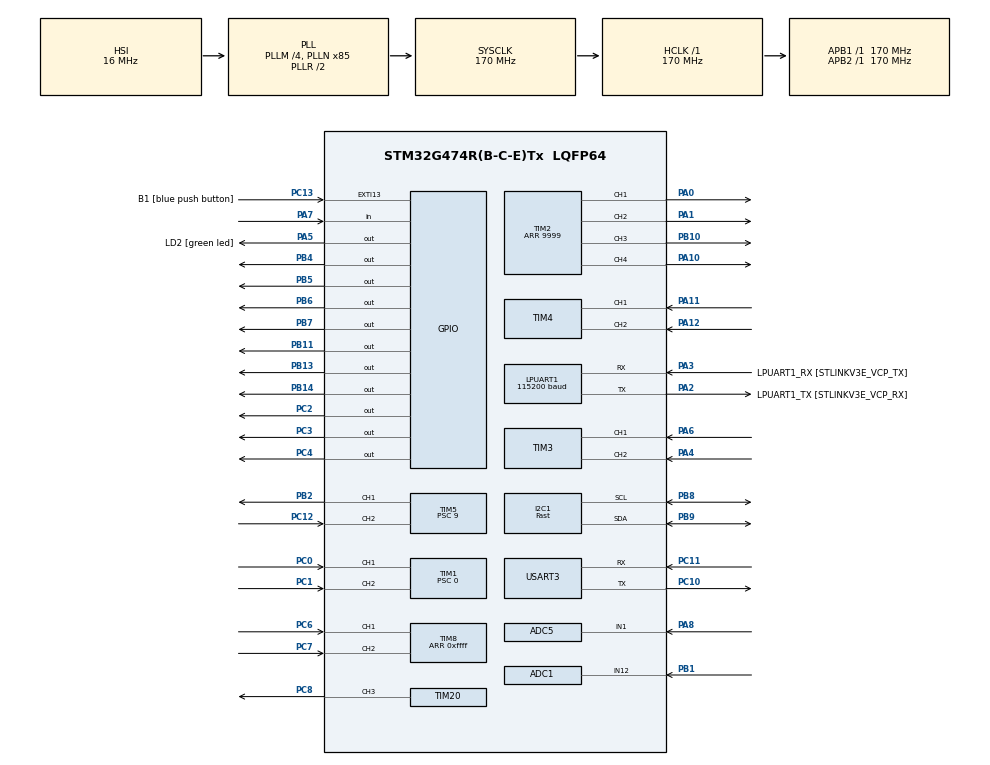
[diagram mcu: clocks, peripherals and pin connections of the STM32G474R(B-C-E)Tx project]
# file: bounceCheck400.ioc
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ADC1.Channel-0\#ChannelRegularConversion=ADC_CHANNEL_12
ADC1.NbrOfConversionFlag=1
ADC1.OffsetNumber-0\#ChannelRegularConversion=ADC_OFFSET_NONE
ADC1.Rank-0\#ChannelRegularConversion=1
ADC1.SamplingTime-0\#ChannelRegularConversion=ADC_SAMPLETIME_2CYCLES_5
ADC1.master=1
ADC5.Channel-0\#ChannelRegularConversion=ADC_CHANNEL_1
ADC5.NbrOfConversionFlag=1
ADC5.OffsetNumber-0\#ChannelRegularConversion=ADC_OFFSET_NONE
ADC5.Rank-0\#ChannelRegularConversion=1
ADC5.SamplingTime-0\#ChannelRegularConversion=ADC_SAMPLETIME_2CYCLES_5
I2C1.I2C_Speed_Mode=I2C_Fast
I2C1.Timing=0x40621236
LPUART1.BaudRate=115200
Mcu.Family=STM32G4
Mcu.Name=STM32G474R(B-C-E)Tx
Mcu.Package=LQFP64
NVIC.EXTI15_10_IRQn=true\:0\:0\:false\:false\:true\:true\:true\:true
NVIC.LPUART1_IRQn=true\:0\:0\:false\:false\:true\:true\:true\:true
NVIC.PriorityGroup=NVIC_PRIORITYGROUP_4
NVIC.TIM1_BRK_TIM15_IRQn=true\:0\:0\:false\:false\:true\:true\:true\:true
NVIC.TIM2_IRQn=true\:0\:0\:false\:false\:true\:true\:true\:true
NVIC.TIM5_IRQn=true\:0\:0\:false\:false\:true\:true\:true\:true
NVIC.USART3_IRQn=true\:0\:0\:false\:false\:true\:true\:true\:true
PA0.Signal=S_TIM2_CH1
PA1.Signal=S_TIM2_CH2
PA10.Signal=S_TIM2_CH4
PA11.Signal=S_TIM4_CH1
PA12.Signal=S_TIM4_CH2
PA13.GPIO_Label=T_SWDIO
PA13.Mode=Serial_Wire
PA13.Signal=SYS_JTMS-SWDIO
PA14.GPIO_Label=T_SWCLK
PA14.Mode=Serial_Wire
PA14.Signal=SYS_JTCK-SWCLK
PA2.GPIO_Label=LPUART1_TX [STLINKV3E_VCP_RX]
PA2.Mode=Asynchronous
PA2.Signal=LPUART1_TX
PA3.GPIO_Label=LPUART1_RX [STLINKV3E_VCP_TX]
PA3.Mode=Asynchronous
PA3.Signal=LPUART1_RX
PA4.Signal=S_TIM3_CH2
PA5.GPIO_Label=LD2 [green led]
PA5.Signal=GPIO_Output
PA6.Signal=S_TIM3_CH1
PA7.Signal=GPIO_Input
PA8.Mode=IN1-Single-Ended
PA8.Signal=ADC5_IN1
PB1.Mode=IN12-Single-Ended
PB1.Signal=ADC1_IN12
PB10.Signal=S_TIM2_CH3
PB11.Signal=GPIO_Output
PB13.Signal=GPIO_Output
PB14.Signal=GPIO_Output
PB2.Signal=S_TIM5_CH1
PB3.GPIO_Label=T_SWO
PB3.Signal=SYS_JTDO-SWO
PB4.Signal=GPIO_Output
PB5.Signal=GPIO_Output
PB6.Signal=GPIO_Output
PB7.Signal=GPIO_Output
PB8-BOOT0.Mode=I2C
PB8-BOOT0.Signal=I2C1_SCL
PB9.Mode=I2C
PB9.Signal=I2C1_SDA
PC0.Signal=S_TIM1_CH1
PC1.Signal=S_TIM1_CH2
PC10.Mode=Asynchronous
PC10.Signal=USART3_TX
PC11.Mode=Asynchronous
PC11.Signal=USART3_RX
PC12.Signal=S_TIM5_CH2
PC13.GPIO_Label=B1 [blue push button]
PC13.Signal=GPXTI13
PC14-OSC32_IN.Mode=LSE-External-Oscillator
PC14-OSC32_IN.Signal=RCC_OSC32_IN
PC15-OSC32_OUT.Mode=LSE-External-Oscillator
PC15-OSC32_OUT.Signal=RCC_OSC32_OUT
PC2.Signal=GPIO_Output
PC3.Signal=GPIO_Output
PC4.Signal=GPIO_Output
PC6.Signal=S_TIM8_CH1
PC7.Signal=S_TIM8_CH2
PC8.Signal=S_TIM20_CH3
PF0-OSC_IN.Mode=HSE-External-Oscillator
PF0-OSC_IN.Signal=RCC_OSC_IN
PF1-OSC_OUT.Mode=HSE-External-Oscillator
PF1-OSC_OUT.Signal=RCC_OSC_OUT
ProjectManager.HeapSize=0x200
ProjectManager.StackSize=0x400
ProjectManager.TargetToolchain=STM32CubeIDE
RCC.ADC12Freq_Value=170000000
RCC.ADC345Freq_Value=170000000
RCC.AHBFreq_Value=170000000
RCC.APB1Freq_Value=170000000
RCC.APB1TimFreq_Value=170000000
RCC.APB2Freq_Value=170000000
RCC.APB2TimFreq_Value=170000000
RCC.CortexFreq_Value=170000000
RCC.EXTERNAL_CLOCK_VALUE=12288000
RCC.HCLKFreq_Value=170000000
RCC.HSE_VALUE=24000000
RCC.HSI48_VALUE=48000000
RCC.HSI_VALUE=16000000
RCC.PLLM=RCC_PLLM_DIV4
RCC.PLLN=85
RCC.RTCClockSelection=RCC_RTCCLKSOURCE_LSE
RCC.SYSCLKFreq_VALUE=170000000
RCC.SYSCLKSource=RCC_SYSCLKSOURCE_PLLCLK
RCC.USBFreq_Value=170000000
RCC.VCOOutputFreq_Value=340000000
SH.S_TIM1_CH1.0=TIM1_CH1,Encoder_Interface
SH.S_TIM1_CH2.0=TIM1_CH2,Encoder_Interface
SH.S_TIM20_CH3.0=TIM20_CH3,PWM Generation3 CH3
SH.S_TIM2_CH1.0=TIM2_CH1,PWM Generation1 CH1
SH.S_TIM2_CH2.0=TIM2_CH2,PWM Generation2 CH2
SH.S_TIM2_CH3.0=TIM2_CH3,PWM Generation3 CH3
SH.S_TIM2_CH4.0=TIM2_CH4,PWM Generation4 CH4
SH.S_TIM3_CH1.0=TIM3_CH1,Encoder_Interface
SH.S_TIM3_CH2.0=TIM3_CH2,Encoder_Interface
SH.S_TIM4_CH1.0=TIM4_CH1,Encoder_Interface
SH.S_TIM4_CH2.0=TIM4_CH2,Encoder_Interface
SH.S_TIM5_CH1.0=TIM5_CH1,PWM Generation1 CH1
SH.S_TIM5_CH2.0=TIM5_CH2,Input_Capture2_from_TI2
SH.S_TIM8_CH1.0=TIM8_CH1,Encoder_Interface
SH.S_TIM8_CH2.0=TIM8_CH2,Encoder_Interface
TIM1.PeriodNoDither=0xffff
TIM1.Prescaler=0
TIM15.PeriodNoDither=49999
TIM15.Prescaler=67
TIM2.Channel-PWM\ Generation1\ CH1=TIM_CHANNEL_1
TIM2.Channel-PWM\ Generation2\ CH2=TIM_CHANNEL_2
TIM2.Channel-PWM\ Generation3\ CH3=TIM_CHANNEL_3
TIM2.Channel-PWM\ Generation4\ CH4=TIM_CHANNEL_4
TIM2.PeriodNoDither=9999
TIM20.Channel-PWM\ Generation3\ CH3=TIM_CHANNEL_3
TIM5.Channel-Input_Capture2_from_TI2=TIM_CHANNEL_2
TIM5.Channel-PWM\ Generation1\ CH1=TIM_CHANNEL_1
TIM5.ICPolarity_CH2=TIM_INPUTCHANNELPOLARITY_BOTHEDGE
TIM5.PeriodNoDither=1699999
TIM5.Prescaler=9
TIM8.PeriodNoDither=0xffff
USART3.VirtualMode-Asynchronous=VM_ASYNC
VP_SYS_VS_DBSignals.Mode=DisableDeadBatterySignals
VP_TIM15_VS_ClockSourceINT.Mode=Internal
VP_TIM2_VS_ClockSourceINT.Mode=Internal
VP_TIM5_VS_ClockSourceINT.Mode=Internal
board=NUCLEO-G474RE

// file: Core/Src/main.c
/* USER CODE BEGIN Header *//**
  ******************************************************************************
  * @file    main.c   (project bounceCheck400)
  * @brief   Bounce test of I2C button 0 with the I2C bus at 400 kHz, for
  *          Assignment 1, Part C. Hardware: NUCLEO-G474RE + the I2C IO board on
  *          the cart. Read bounceCheck400_instructions.txt (same folder).
  *
  * The question: can Part C show both kinds of wrong count?
  *   - UNWANTED events: bounce makes one real press count as several
  *   - MISSING events : a press shorter than one loop pass is never seen
  *
  * Button 0 (PCA9538A at 0x71) is read as fast as the bus allows, or with a
  * delay of loopDelayMs after every read. For every raw edge the program
  * counts presses and releases separately, measures the gap from the previous
  * edge, and logs its time. A debounced count (level stable for debounceMs)
  * runs alongside as a check of the real number of presses.
  *
  * The bus speed can be switched at run time: i2cFast = 1 (400 kHz, the
  * default here) or 0 (100 kHz, the course setting), to compare the two in
  * the same session.
  *
  * LD2 shows the raw level of button 0 (LD2 on = held).
  *
  * All inputs and outputs are global variables, for Live Expressions:
  *   INPUTS  (write): resetCounts, i2cFast, loopDelayMs, dumpLog, shortGapUs,
  *                    debounceMs
  *   OUTPUTS (read) : everything else listed in the instructions file
  *
  * Nothing moves: the wheels, RGB LEDs and servo are never commanded.
  ******************************************************************************
  */
/* USER CODE END Header */
#include "main.h"

/* USER CODE BEGIN Includes */
#include <stdio.h>
/* USER CODE END Includes */

/* USER CODE BEGIN PD */
#define PCA9538A_ADDR        0x71
#define PCA9538A_INPUT       0x00
#define PCA9538A_CONFIG      0x03
#define GAP_NONE             0xFFFFFFFFUL  /* "no gap measured yet"              */
#define GAP_DEFAULT_US       30000UL       /* 30 ms: shorter gaps are bounce     */
#define DEBOUNCE_DEFAULT_MS  20UL          /* stable time for the debounced count */
#define LOG_SIZE             512U          /* edges kept in the timing log       */
#define I2C_TIMING_100K      0x30A0A7FBUL  /* 100 kHz @ 170 MHz (CubeMX value)   */
#define I2C_TIMING_400K      0x40621236UL  /* 400 kHz @ 170 MHz, CubeMX GUI value (was 0x30C22737) */
#define RAW_EDGE             0x01U         /* updateInput() result bits          */
#define DEB_EDGE             0x02U
/* USER CODE END PD */

ADC_HandleTypeDef hadc1;
ADC_HandleTypeDef hadc5;

I2C_HandleTypeDef hi2c1;

UART_HandleTypeDef hlpuart1;
UART_HandleTypeDef huart3;

TIM_HandleTypeDef htim1;
TIM_HandleTypeDef htim2;
TIM_HandleTypeDef htim3;
TIM_HandleTypeDef htim4;
TIM_HandleTypeDef htim5;
TIM_HandleTypeDef htim8;
TIM_HandleTypeDef htim15;
TIM_HandleTypeDef htim20;

/* USER CODE BEGIN PV */
/* ============================ INPUTS (write) ============================== */
volatile uint8_t  resetCounts = 0;                    /* write 1: zero all results */
volatile uint8_t  i2cFast     = 1;                    /* 1 = 400 kHz, 0 = 100 kHz  */
volatile uint32_t loopDelayMs = 0;                    /* HAL_Delay after each read */
volatile uint8_t  dumpLog     = 0;                    /* write 1: print the log    */
volatile uint32_t shortGapUs  = GAP_DEFAULT_US;       /* bounce threshold [us]     */
volatile uint32_t debounceMs  = DEBOUNCE_DEFAULT_MS;  /* debounce stable time [ms] */

/* ============================ OUTPUTS (read) ============================== */
volatile uint32_t loopsPerSec = 0;     /* main-loop passes (= reads) per second */
volatile uint32_t samplePeriodUs = 0;  /* time between two reads, 1e6 / loops  */
volatile uint32_t i2cKHz      = 100;   /* I2C speed in use                      */
volatile uint8_t  i2cOk       = 0;     /* 1 = the last button read worked       */
volatile uint32_t i2cErrors   = 0;     /* failed button reads since the reset   */
volatile uint8_t  i2cHeld     = 0;     /* bit n = 1 while button n is held      */

volatile uint32_t b0Presses    = 0;    /* raw edges released -> held            */
volatile uint32_t b0Releases   = 0;    /* raw edges held -> released            */
volatile uint32_t b0ShortGaps  = 0;    /* raw edges after a short gap           */
volatile uint32_t b0MinGapUs   = GAP_NONE;
volatile uint32_t b0DebPresses = 0;    /* debounced presses                     */
volatile uint32_t b0MinHeldUs  = GAP_NONE; /* shortest raw press seen [us]     */

volatile uint32_t logCount     = 0;    /* edges in the log (max LOG_SIZE)       */

/* ---- internal ---- */
typedef struct {          /* one input: raw edge timing and debounced state */
  uint8_t  raw;           /* last raw level                                 */
  uint8_t  seen;          /* 0 until the first raw edge after a reset       */
  uint32_t lastEdgeUs;    /* time of the previous raw edge                  */
  uint8_t  stable;        /* debounced level                                */
  uint32_t changeMs;      /* HAL tick of the last raw change                */
} Input;

typedef struct {          /* one logged raw edge */
  uint32_t tUs;           /* time since the reset [us] */
  uint8_t  level;         /* level after the edge      */
} LogEntry;

static Input    button0;
static LogEntry edgeLog[LOG_SIZE];
static uint8_t  lastFast    = 0;   /* forces one i2cSetSpeed() at start-up  */
static uint64_t clockCycles = 0;   /* DWT cycles since boot, 64-bit         */
static uint32_t lastCyccnt  = 0;
static uint32_t resetUs     = 0;   /* nowUs() at the last reset             */
/* USER CODE END PV */

void SystemClock_Config(void);
static void MX_GPIO_Init(void);
static void MX_TIM1_Init(void);
static void MX_TIM2_Init(void);
static void MX_TIM3_Init(void);
static void MX_TIM4_Init(void);
static void MX_TIM5_Init(void);
static void MX_TIM8_Init(void);
static void MX_TIM15_Init(void);
static void MX_ADC5_Init(void);
static void MX_TIM20_Init(void);
static void MX_ADC1_Init(void);
static void MX_LPUART1_UART_Init(void);
static void MX_USART3_UART_Init(void);
static void MX_I2C1_Init(void);
void HAL_TIM_MspPostInit(TIM_HandleTypeDef *htim);

/* USER CODE BEGIN PFP */
static void     dwtInit(void);
static uint32_t nowUs(void);
static void     i2cSetSpeed(uint8_t fast);
static uint8_t  readI2cButtons(uint8_t *held);
static void     resetResults(void);
static void     logEdge(uint32_t tUs, uint8_t level);
static uint8_t  updateInput(Input *in, uint8_t level);
static void     pollButton0(void);
static void     printLog(void);
/* USER CODE END PFP */

/* USER CODE BEGIN 0 */
/* route printf to LPUART1 (PuTTY) */
int __io_putchar(int ch)
{
  HAL_UART_Transmit(&hlpuart1, (uint8_t *)&ch, 1, HAL_MAX_DELAY);
  return ch;
}

/* DWT cycle counter: 170 counts per microsecond */
static void dwtInit(void)
{
  CoreDebug->DEMCR |= CoreDebug_DEMCR_TRCENA_Msk;
  DWT->CYCCNT = 0U;
  DWT->CTRL  |= DWT_CTRL_CYCCNTENA_Msk;
}

/* Microseconds since boot. The 32-bit cycle counter wraps every 25 s, so it is
   extended to 64 bits here; the main loop calls this far more often than that. */
static uint32_t nowUs(void)
{
  uint32_t c = DWT->CYCCNT;
  clockCycles += (uint32_t)(c - lastCyccnt);
  lastCyccnt   = c;
  return (uint32_t)(clockCycles / (SystemCoreClock / 1000000U));
}

/* Re-initialise I2C1 at 100 kHz (fast = 0) or 400 kHz (fast = 1).
   The 400 kHz value is the one the CubeMX GUI computes for Fast mode,
   I2CCLK = 170 MHz, PRESC = 4, so one step = 29.4 ns:
     SCLL   = 0x36: SCL low  55 steps = 1.62 us (Fast mode min 1.3 us)
     SCLH   = 0x12: SCL high 19 steps = 0.56 us, plus the synchronisation
                    and analog filter delay (min 0.6 us on the bus)
     SCLDEL = 0x6 : data setup 7 steps = 206 ns (min 100 ns + rise time)
     SDADEL = 0x2 : data hold  2 steps =  59 ns (min 0)
   The first tests used a hand-computed 0x30C22737 (also within the rules). */
static void i2cSetSpeed(uint8_t fast)
{
  HAL_I2C_DeInit(&hi2c1);
  hi2c1.Init.Timing = fast ? I2C_TIMING_400K : I2C_TIMING_100K;
  if (HAL_I2C_Init(&hi2c1) != HAL_OK) Error_Handler();
  if (HAL_I2CEx_ConfigAnalogFilter(&hi2c1, I2C_ANALOGFILTER_ENABLE) != HAL_OK) Error_Handler();
  if (HAL_I2CEx_ConfigDigitalFilter(&hi2c1, 0) != HAL_OK) Error_Handler();
  i2cKHz = fast ? 400U : 100U;
}

/* bit n of *held = 1 while button n is held (the chip is active-low) */
static uint8_t readI2cButtons(uint8_t *held)
{
  uint8_t raw;
  if (HAL_I2C_Mem_Read(&hi2c1, (uint16_t)(PCA9538A_ADDR << 1), PCA9538A_INPUT,
                       I2C_MEMADD_SIZE_8BIT, &raw, 1, 10) != HAL_OK) {
    return 0;
  }
  *held = (uint8_t)(~raw) & 0x0FU;
  return 1;
}

/* zero every count and the log; the debounced level is kept */
static void resetResults(void)
{
  i2cErrors = 0;
  b0Presses = 0; b0Releases = 0; b0ShortGaps = 0; b0MinGapUs = GAP_NONE;
  b0DebPresses = 0; b0MinHeldUs = GAP_NONE;
  button0.seen = 0;
  logCount     = 0;
  resetUs      = nowUs();
}

/* keep one raw edge in the log, while there is room */
static void logEdge(uint32_t tUs, uint8_t level)
{
  if (logCount < LOG_SIZE) {
    edgeLog[logCount].tUs   = tUs;
    edgeLog[logCount].level = level;
    logCount++;
  }
}

/* Feed one new sample of button 0. Times the raw edge (short gaps, minimum
   gap, shortest press, log) and runs the debounce: the debounced level
   follows the raw level only after it has been stable for debounceMs.
   Returns RAW_EDGE and/or DEB_EDGE for what changed in this sample. */
static uint8_t updateInput(Input *in, uint8_t level)
{
  uint8_t  events = 0;
  uint32_t tUs    = nowUs() - resetUs;
  uint32_t ms     = HAL_GetTick();

  if (level != in->raw) {                          /* raw edge */
    if (in->seen) {
      uint32_t gap = tUs - in->lastEdgeUs;
      if (gap < shortGapUs)  b0ShortGaps++;
      if (gap < b0MinGapUs)  b0MinGapUs = gap;
      if (!level && gap < b0MinHeldUs) b0MinHeldUs = gap;  /* press -> release */
    }
    in->seen       = 1;
    in->lastEdgeUs = tUs;
    in->raw        = level;
    in->changeMs   = ms;
    logEdge(tUs, level);
    events |= RAW_EDGE;
  }
  if (in->stable != in->raw && (ms - in->changeMs) >= debounceMs) {
    in->stable = in->raw;                          /* debounced edge */
    events |= DEB_EDGE;
  }
  return events;
}

/* button 0: raw presses/releases and debounced presses; LD2 = raw level */
static void pollButton0(void)
{
  uint8_t held;
  if (!readI2cButtons(&held)) { i2cOk = 0; i2cErrors++; return; }
  i2cOk   = 1;
  i2cHeld = held;

  uint8_t level = held & 0x01U;
  HAL_GPIO_WritePin(LD2_GPIO_Port, LD2_Pin, level ? GPIO_PIN_SET : GPIO_PIN_RESET);

  uint8_t ev = updateInput(&button0, level);
  if (ev & RAW_EDGE) {
    if (level) b0Presses++; else b0Releases++;
  }
  if ((ev & DEB_EDGE) && button0.stable) b0DebPresses++;
}

/* print the edge log and the counts to PuTTY (blocks for a few seconds) */
static void printLog(void)
{
  printf("\r\n=== LOG: I2C button 0, I2C %lu kHz, loop delay %lu ms, %lu edges%s ===\r\n",
         i2cKHz, loopDelayMs, logCount,
         (logCount >= LOG_SIZE) ? " (log full, later edges not kept)" : "");
  printf("    #      t [ms]   gap [us]  new level\r\n");
  for (uint32_t i = 0; i < logCount; i++) {
    uint32_t t = edgeLog[i].tUs;
    printf("%5lu %7lu.%03lu ", i, t / 1000U, t % 1000U);
    uint8_t isShort = 0;
    if (i == 0) {
      printf("%10s", "-");
    } else {
      uint32_t gap = t - edgeLog[i - 1U].tUs;
      printf("%10lu", gap);
      isShort = (gap < shortGapUs);
    }
    printf("  %s", edgeLog[i].level ? "PRESS  " : "release");
    printf("%s\r\n", isShort ? "  <short" : "");
  }
  printf("button 0: presses %lu, releases %lu, short gaps %lu, min gap %lu us, "
         "debounced presses %lu, shortest press %lu us, I2C errors %lu\r\n",
         b0Presses, b0Releases, b0ShortGaps, b0MinGapUs, b0DebPresses,
         b0MinHeldUs, i2cErrors);
  printf("loops per second %lu, sample period %lu us\r\n=== END OF LOG ===\r\n",
         loopsPerSec, samplePeriodUs);
}
/* USER CODE END 0 */

int main(void)
{
  HAL_Init();
  SystemClock_Config();

  MX_GPIO_Init();
  MX_TIM1_Init();
  MX_TIM2_Init();
  MX_TIM3_Init();
  MX_TIM4_Init();
  MX_TIM5_Init();
  MX_TIM8_Init();
  MX_TIM15_Init();
  MX_ADC5_Init();
  MX_TIM20_Init();
  MX_ADC1_Init();
  MX_LPUART1_UART_Init();
  MX_USART3_UART_Init();
  MX_I2C1_Init();

  /* USER CODE BEGIN 2 */
  dwtInit();
  (void)nowUs();

  /* button chip: all 8 pins as inputs (also its power-on default) */
  uint8_t config = 0xFF;
  HAL_I2C_Mem_Write(&hi2c1, (uint16_t)(PCA9538A_ADDR << 1), PCA9538A_CONFIG,
                    I2C_MEMADD_SIZE_8BIT, &config, 1, 10);

  /* start from the current level, so power-up is not an edge */
  uint8_t held = 0;
  i2cOk = readI2cButtons(&held);
  button0.raw = button0.stable = held & 0x01U;
  resetResults();

  printf("\r\nbounceCheck400 running. Write dumpLog = 1 to print the log.\r\n");

  uint32_t loops = 0, loopWindowStart = HAL_GetTick();
  /* USER CODE END 2 */

  /* Infinite loop */
  /* USER CODE BEGIN WHILE */
  while (1)
  {
    /* inputs written from Live Expressions */
    uint8_t fast = (i2cFast != 0U);
    if (fast != lastFast) {                    /* new bus speed: start over */
      lastFast = fast;
      i2cSetSpeed(fast);
      printf("I2C now %lu kHz, counts reset.\r\n", i2cKHz);
      resetCounts = 1;
    }
    if (resetCounts) {
      resetResults();
      resetCounts = 0;
    }
    if (dumpLog) {
      printLog();
      dumpLog = 0;
    }

    pollButton0();
    if (loopDelayMs) HAL_Delay(loopDelayMs);   /* stands for "other work" */

    loops++;
    uint32_t now = HAL_GetTick();
    if (now - loopWindowStart >= 1000U) {
      loopsPerSec    = loops;
      samplePeriodUs = loops ? (1000000U / loops) : 0U;
      loops = 0;
      loopWindowStart = now;
    }
    /* USER CODE END WHILE */

  }
}

void SystemClock_Config(void)
{
  RCC_OscInitTypeDef RCC_OscInitStruct = {0};
  RCC_ClkInitTypeDef RCC_ClkInitStruct = {0};

  HAL_PWREx_ControlVoltageScaling(PWR_REGULATOR_VOLTAGE_SCALE1_BOOST);

  RCC_OscInitStruct.OscillatorType      = RCC_OSCILLATORTYPE_HSI;
  RCC_OscInitStruct.HSIState            = RCC_HSI_ON;
  RCC_OscInitStruct.HSICalibrationValue = RCC_HSICALIBRATION_DEFAULT;
  RCC_OscInitStruct.PLL.PLLState        = RCC_PLL_ON;
  RCC_OscInitStruct.PLL.PLLSource       = RCC_PLLSOURCE_HSI;
  RCC_OscInitStruct.PLL.PLLM            = RCC_PLLM_DIV4;
  RCC_OscInitStruct.PLL.PLLN            = 85;
  RCC_OscInitStruct.PLL.PLLP            = RCC_PLLP_DIV2;
  RCC_OscInitStruct.PLL.PLLQ            = RCC_PLLQ_DIV2;
  RCC_OscInitStruct.PLL.PLLR            = RCC_PLLR_DIV2;
  if (HAL_RCC_OscConfig(&RCC_OscInitStruct) != HAL_OK) Error_Handler();

  RCC_ClkInitStruct.ClockType      = RCC_CLOCKTYPE_HCLK | RCC_CLOCKTYPE_SYSCLK
                                   | RCC_CLOCKTYPE_PCLK1 | RCC_CLOCKTYPE_PCLK2;
  RCC_ClkInitStruct.SYSCLKSource   = RCC_SYSCLKSOURCE_PLLCLK;
  RCC_ClkInitStruct.AHBCLKDivider  = RCC_SYSCLK_DIV1;
  RCC_ClkInitStruct.APB1CLKDivider = RCC_HCLK_DIV1;
  RCC_ClkInitStruct.APB2CLKDivider = RCC_HCLK_DIV1;
  if (HAL_RCC_ClockConfig(&RCC_ClkInitStruct, FLASH_LATENCY_4) != HAL_OK) Error_Handler();
}

/* ------------------------------------------------------------------------- */
/* MX peripheral init functions - identical to the other main.c files, so    */
/* stm32g4xx_hal_msp.c and stm32g4xx_it.c are shared without changes.        */
/* ------------------------------------------------------------------------- */

static void MX_ADC1_Init(void)
{
  ADC_MultiModeTypeDef multimode = {0};
  ADC_ChannelConfTypeDef sConfig = {0};

  hadc1.Instance = ADC1;
  hadc1.Init.ClockPrescaler        = ADC_CLOCK_SYNC_PCLK_DIV4;
  hadc1.Init.Resolution            = ADC_RESOLUTION_12B;
  hadc1.Init.DataAlign             = ADC_DATAALIGN_RIGHT;
  hadc1.Init.GainCompensation      = 0;
  hadc1.Init.ScanConvMode          = ADC_SCAN_DISABLE;
  hadc1.Init.EOCSelection          = ADC_EOC_SINGLE_CONV;
  hadc1.Init.LowPowerAutoWait      = DISABLE;
  hadc1.Init.ContinuousConvMode    = DISABLE;
  hadc1.Init.NbrOfConversion       = 1;
  hadc1.Init.DiscontinuousConvMode = DISABLE;
  hadc1.Init.ExternalTrigConv      = ADC_SOFTWARE_START;
  hadc1.Init.ExternalTrigConvEdge  = ADC_EXTERNALTRIGCONVEDGE_NONE;
  hadc1.Init.DMAContinuousRequests = DISABLE;
  hadc1.Init.Overrun               = ADC_OVR_DATA_PRESERVED;
  hadc1.Init.OversamplingMode      = DISABLE;
  if (HAL_ADC_Init(&hadc1) != HAL_OK) Error_Handler();

  multimode.Mode = ADC_MODE_INDEPENDENT;
  if (HAL_ADCEx_MultiModeConfigChannel(&hadc1, &multimode) != HAL_OK) Error_Handler();

  sConfig.Channel      = ADC_CHANNEL_12;
  sConfig.Rank         = ADC_REGULAR_RANK_1;
  sConfig.SamplingTime = ADC_SAMPLETIME_2CYCLES_5;
  sConfig.SingleDiff   = ADC_SINGLE_ENDED;
  sConfig.OffsetNumber = ADC_OFFSET_NONE;
  sConfig.Offset       = 0;
  if (HAL_ADC_ConfigChannel(&hadc1, &sConfig) != HAL_OK) Error_Handler();
}

static void MX_ADC5_Init(void)
{
  ADC_ChannelConfTypeDef sConfig = {0};

  hadc5.Instance = ADC5;
  hadc5.Init.ClockPrescaler        = ADC_CLOCK_SYNC_PCLK_DIV4;
  hadc5.Init.Resolution            = ADC_RESOLUTION_12B;
  hadc5.Init.DataAlign             = ADC_DATAALIGN_RIGHT;
  hadc5.Init.GainCompensation      = 0;
  hadc5.Init.ScanConvMode          = ADC_SCAN_DISABLE;
  hadc5.Init.EOCSelection          = ADC_EOC_SINGLE_CONV;
  hadc5.Init.LowPowerAutoWait      = DISABLE;
  hadc5.Init.ContinuousConvMode    = DISABLE;
  hadc5.Init.NbrOfConversion       = 1;
  hadc5.Init.DiscontinuousConvMode = DISABLE;
  hadc5.Init.ExternalTrigConv      = ADC_SOFTWARE_START;
  hadc5.Init.ExternalTrigConvEdge  = ADC_EXTERNALTRIGCONVEDGE_NONE;
  hadc5.Init.DMAContinuousRequests = DISABLE;
  hadc5.Init.Overrun               = ADC_OVR_DATA_PRESERVED;
  hadc5.Init.OversamplingMode      = DISABLE;
  if (HAL_ADC_Init(&hadc5) != HAL_OK) Error_Handler();

  sConfig.Channel      = ADC_CHANNEL_1;
  sConfig.Rank         = ADC_REGULAR_RANK_1;
  sConfig.SamplingTime = ADC_SAMPLETIME_2CYCLES_5;
  sConfig.SingleDiff   = ADC_SINGLE_ENDED;
  sConfig.OffsetNumber = ADC_OFFSET_NONE;
  sConfig.Offset       = 0;
  if (HAL_ADC_ConfigChannel(&hadc5, &sConfig) != HAL_OK) Error_Handler();
}

static void MX_I2C1_Init(void)
{
  hi2c1.Instance = I2C1;
  hi2c1.Init.Timing           = 0x40621236;   /* 400 kHz @ 170 MHz (CubeMX value) */
  hi2c1.Init.OwnAddress1      = 0;
  hi2c1.Init.AddressingMode   = I2C_ADDRESSINGMODE_7BIT;
  hi2c1.Init.DualAddressMode  = I2C_DUALADDRESS_DISABLE;
  hi2c1.Init.OwnAddress2      = 0;
  hi2c1.Init.OwnAddress2Masks = I2C_OA2_NOMASK;
  hi2c1.Init.GeneralCallMode  = I2C_GENERALCALL_DISABLE;
  hi2c1.Init.NoStretchMode    = I2C_NOSTRETCH_DISABLE;
  if (HAL_I2C_Init(&hi2c1) != HAL_OK) Error_Handler();
  if (HAL_I2CEx_ConfigAnalogFilter(&hi2c1, I2C_ANALOGFILTER_ENABLE) != HAL_OK) Error_Handler();
  if (HAL_I2CEx_ConfigDigitalFilter(&hi2c1, 0) != HAL_OK) Error_Handler();
}

static void MX_LPUART1_UART_Init(void)
{
  hlpuart1.Instance = LPUART1;
  hlpuart1.Init.BaudRate       = 115200;
  hlpuart1.Init.WordLength     = UART_WORDLENGTH_8B;
  hlpuart1.Init.StopBits       = UART_STOPBITS_1;
  hlpuart1.Init.Parity         = UART_PARITY_NONE;
  hlpuart1.Init.Mode           = UART_MODE_TX_RX;
  hlpuart1.Init.HwFlowCtl      = UART_HWCONTROL_NONE;
  hlpuart1.Init.OneBitSampling = UART_ONE_BIT_SAMPLE_DISABLE;
  hlpuart1.Init.ClockPrescaler = UART_PRESCALER_DIV1;
  hlpuart1.AdvancedInit.AdvFeatureInit = UART_ADVFEATURE_NO_INIT;
  if (HAL_UART_Init(&hlpuart1) != HAL_OK) Error_Handler();
  if (HAL_UARTEx_SetTxFifoThreshold(&hlpuart1, UART_TXFIFO_THRESHOLD_1_8) != HAL_OK) Error_Handler();
  if (HAL_UARTEx_SetRxFifoThreshold(&hlpuart1, UART_RXFIFO_THRESHOLD_1_8) != HAL_OK) Error_Handler();
  if (HAL_UARTEx_DisableFifoMode(&hlpuart1) != HAL_OK) Error_Handler();
}

static void MX_USART3_UART_Init(void)
{
  huart3.Instance = USART3;
  huart3.Init.BaudRate       = 115200;
  huart3.Init.WordLength     = UART_WORDLENGTH_8B;
  huart3.Init.StopBits       = UART_STOPBITS_1;
  huart3.Init.Parity         = UART_PARITY_NONE;
  huart3.Init.Mode           = UART_MODE_TX_RX;
  huart3.Init.HwFlowCtl      = UART_HWCONTROL_NONE;
  huart3.Init.OverSampling   = UART_OVERSAMPLING_16;
  huart3.Init.OneBitSampling = UART_ONE_BIT_SAMPLE_DISABLE;
  huart3.Init.ClockPrescaler = UART_PRESCALER_DIV1;
  huart3.AdvancedInit.AdvFeatureInit = UART_ADVFEATURE_NO_INIT;
  if (HAL_UART_Init(&huart3) != HAL_OK) Error_Handler();
  if (HAL_UARTEx_SetTxFifoThreshold(&huart3, UART_TXFIFO_THRESHOLD_1_8) != HAL_OK) Error_Handler();
  if (HAL_UARTEx_SetRxFifoThreshold(&huart3, UART_RXFIFO_THRESHOLD_1_8) != HAL_OK) Error_Handler();
  if (HAL_UARTEx_DisableFifoMode(&huart3) != HAL_OK) Error_Handler();
}

static void MX_TIM1_Init(void)
{
  TIM_Encoder_InitTypeDef sConfig = {0};
  TIM_MasterConfigTypeDef sMasterConfig = {0};

  htim1.Instance = TIM1;
  htim1.Init.Prescaler         = 0;
  htim1.Init.CounterMode       = TIM_COUNTERMODE_UP;
  htim1.Init.Period            = 65535;
  htim1.Init.ClockDivision     = TIM_CLOCKDIVISION_DIV1;
  htim1.Init.RepetitionCounter = 0;
  htim1.Init.AutoReloadPreload = TIM_AUTORELOAD_PRELOAD_DISABLE;
  sConfig.EncoderMode  = TIM_ENCODERMODE_TI1;
  sConfig.IC1Polarity  = TIM_ICPOLARITY_RISING;
  sConfig.IC1Selection = TIM_ICSELECTION_DIRECTTI;
  sConfig.IC1Prescaler = TIM_ICPSC_DIV1;
  sConfig.IC1Filter    = 0;
  sConfig.IC2Polarity  = TIM_ICPOLARITY_RISING;
  sConfig.IC2Selection = TIM_ICSELECTION_DIRECTTI;
  sConfig.IC2Prescaler = TIM_ICPSC_DIV1;
  sConfig.IC2Filter    = 0;
  if (HAL_TIM_Encoder_Init(&htim1, &sConfig) != HAL_OK) Error_Handler();

  sMasterConfig.MasterOutputTrigger  = TIM_TRGO_RESET;
  sMasterConfig.MasterOutputTrigger2 = TIM_TRGO2_RESET;
  sMasterConfig.MasterSlaveMode      = TIM_MASTERSLAVEMODE_DISABLE;
  if (HAL_TIMEx_MasterConfigSynchronization(&htim1, &sMasterConfig) != HAL_OK) Error_Handler();
}

static void MX_TIM2_Init(void)
{
  TIM_ClockConfigTypeDef sClockSourceConfig = {0};
  TIM_MasterConfigTypeDef sMasterConfig = {0};
  TIM_OC_InitTypeDef sConfigOC = {0};

  htim2.Instance = TIM2;
  htim2.Init.Prescaler         = 0;
  htim2.Init.CounterMode       = TIM_COUNTERMODE_UP;
  htim2.Init.Period            = 9999;
  htim2.Init.ClockDivision     = TIM_CLOCKDIVISION_DIV1;
  htim2.Init.AutoReloadPreload = TIM_AUTORELOAD_PRELOAD_DISABLE;
  if (HAL_TIM_Base_Init(&htim2) != HAL_OK) Error_Handler();

  sClockSourceConfig.ClockSource = TIM_CLOCKSOURCE_INTERNAL;
  if (HAL_TIM_ConfigClockSource(&htim2, &sClockSourceConfig) != HAL_OK) Error_Handler();
  if (HAL_TIM_PWM_Init(&htim2) != HAL_OK) Error_Handler();

  sMasterConfig.MasterOutputTrigger = TIM_TRGO_RESET;
  sMasterConfig.MasterSlaveMode     = TIM_MASTERSLAVEMODE_DISABLE;
  if (HAL_TIMEx_MasterConfigSynchronization(&htim2, &sMasterConfig) != HAL_OK) Error_Handler();

  sConfigOC.OCMode     = TIM_OCMODE_PWM1;
  sConfigOC.Pulse      = 0;
  sConfigOC.OCPolarity = TIM_OCPOLARITY_HIGH;
  sConfigOC.OCFastMode = TIM_OCFAST_DISABLE;
  if (HAL_TIM_PWM_ConfigChannel(&htim2, &sConfigOC, TIM_CHANNEL_1) != HAL_OK) Error_Handler();
  if (HAL_TIM_PWM_ConfigChannel(&htim2, &sConfigOC, TIM_CHANNEL_2) != HAL_OK) Error_Handler();
  if (HAL_TIM_PWM_ConfigChannel(&htim2, &sConfigOC, TIM_CHANNEL_3) != HAL_OK) Error_Handler();
  if (HAL_TIM_PWM_ConfigChannel(&htim2, &sConfigOC, TIM_CHANNEL_4) != HAL_OK) Error_Handler();

  HAL_TIM_MspPostInit(&htim2);
}

static void MX_TIM3_Init(void)
{
  TIM_Encoder_InitTypeDef sConfig = {0};
  TIM_MasterConfigTypeDef sMasterConfig = {0};

  htim3.Instance = TIM3;
  htim3.Init.Prescaler         = 0;
  htim3.Init.CounterMode       = TIM_COUNTERMODE_UP;
  htim3.Init.Period            = 65535;
  htim3.Init.ClockDivision     = TIM_CLOCKDIVISION_DIV1;
  htim3.Init.AutoReloadPreload = TIM_AUTORELOAD_PRELOAD_DISABLE;
  sConfig.EncoderMode  = TIM_ENCODERMODE_TI1;
  sConfig.IC1Polarity  = TIM_ICPOLARITY_RISING;
  sConfig.IC1Selection = TIM_ICSELECTION_DIRECTTI;
  sConfig.IC1Prescaler = TIM_ICPSC_DIV1;
  sConfig.IC1Filter    = 0;
  sConfig.IC2Polarity  = TIM_ICPOLARITY_RISING;
  sConfig.IC2Selection = TIM_ICSELECTION_DIRECTTI;
  sConfig.IC2Prescaler = TIM_ICPSC_DIV1;
  sConfig.IC2Filter    = 0;
  if (HAL_TIM_Encoder_Init(&htim3, &sConfig) != HAL_OK) Error_Handler();

  sMasterConfig.MasterOutputTrigger = TIM_TRGO_RESET;
  sMasterConfig.MasterSlaveMode     = TIM_MASTERSLAVEMODE_DISABLE;
  if (HAL_TIMEx_MasterConfigSynchronization(&htim3, &sMasterConfig) != HAL_OK) Error_Handler();
}

static void MX_TIM4_Init(void)
{
  TIM_Encoder_InitTypeDef sConfig = {0};
  TIM_MasterConfigTypeDef sMasterConfig = {0};

  htim4.Instance = TIM4;
  htim4.Init.Prescaler         = 0;
  htim4.Init.CounterMode       = TIM_COUNTERMODE_UP;
  htim4.Init.Period            = 65535;
  htim4.Init.ClockDivision     = TIM_CLOCKDIVISION_DIV1;
  htim4.Init.AutoReloadPreload = TIM_AUTORELOAD_PRELOAD_DISABLE;
  sConfig.EncoderMode  = TIM_ENCODERMODE_TI1;
  sConfig.IC1Polarity  = TIM_ICPOLARITY_RISING;
  sConfig.IC1Selection = TIM_ICSELECTION_DIRECTTI;
  sConfig.IC1Prescaler = TIM_ICPSC_DIV1;
  sConfig.IC1Filter    = 0;
  sConfig.IC2Polarity  = TIM_ICPOLARITY_RISING;
  sConfig.IC2Selection = TIM_ICSELECTION_DIRECTTI;
  sConfig.IC2Prescaler = TIM_ICPSC_DIV1;
  sConfig.IC2Filter    = 0;
  if (HAL_TIM_Encoder_Init(&htim4, &sConfig) != HAL_OK) Error_Handler();

  sMasterConfig.MasterOutputTrigger = TIM_TRGO_RESET;
  sMasterConfig.MasterSlaveMode     = TIM_MASTERSLAVEMODE_DISABLE;
  if (HAL_TIMEx_MasterConfigSynchronization(&htim4, &sMasterConfig) != HAL_OK) Error_Handler();
}

/* TIM5: CH1 = PWM trigger for the HC-SR04 (PB2), CH2 = input capture of the
   echo (PC12). Do not swap the channels: the capture callback above and the
   MSP post-init depend on this assignment. */
static void MX_TIM5_Init(void)
{
  TIM_ClockConfigTypeDef sClockSourceConfig = {0};
  TIM_MasterConfigTypeDef sMasterConfig = {0};
  TIM_OC_InitTypeDef sConfigOC = {0};
  TIM_IC_InitTypeDef sConfigIC = {0};

  htim5.Instance = TIM5;
  htim5.Init.Prescaler         = 9;
  htim5.Init.CounterMode       = TIM_COUNTERMODE_UP;
  htim5.Init.Period            = 1699999;
  htim5.Init.ClockDivision     = TIM_CLOCKDIVISION_DIV1;
  htim5.Init.AutoReloadPreload = TIM_AUTORELOAD_PRELOAD_DISABLE;
  if (HAL_TIM_Base_Init(&htim5) != HAL_OK) Error_Handler();

  sClockSourceConfig.ClockSource = TIM_CLOCKSOURCE_INTERNAL;
  if (HAL_TIM_ConfigClockSource(&htim5, &sClockSourceConfig) != HAL_OK) Error_Handler();
  if (HAL_TIM_PWM_Init(&htim5) != HAL_OK) Error_Handler();
  if (HAL_TIM_IC_Init(&htim5) != HAL_OK) Error_Handler();

  sMasterConfig.MasterOutputTrigger = TIM_TRGO_RESET;
  sMasterConfig.MasterSlaveMode     = TIM_MASTERSLAVEMODE_DISABLE;
  if (HAL_TIMEx_MasterConfigSynchronization(&htim5, &sMasterConfig) != HAL_OK) Error_Handler();

  sConfigOC.OCMode     = TIM_OCMODE_PWM1;
  sConfigOC.Pulse      = 0;
  sConfigOC.OCPolarity = TIM_OCPOLARITY_HIGH;
  sConfigOC.OCFastMode = TIM_OCFAST_DISABLE;
  if (HAL_TIM_PWM_ConfigChannel(&htim5, &sConfigOC, TIM_CHANNEL_1) != HAL_OK) Error_Handler();

  sConfigIC.ICPolarity  = TIM_INPUTCHANNELPOLARITY_BOTHEDGE;
  sConfigIC.ICSelection = TIM_ICSELECTION_DIRECTTI;
  sConfigIC.ICPrescaler = TIM_ICPSC_DIV1;
  sConfigIC.ICFilter    = 0;
  if (HAL_TIM_IC_ConfigChannel(&htim5, &sConfigIC, TIM_CHANNEL_2) != HAL_OK) Error_Handler();

  HAL_TIM_MspPostInit(&htim5);
}

static void MX_TIM8_Init(void)
{
  TIM_Encoder_InitTypeDef sConfig = {0};
  TIM_MasterConfigTypeDef sMasterConfig = {0};

  htim8.Instance = TIM8;
  htim8.Init.Prescaler         = 0;
  htim8.Init.CounterMode       = TIM_COUNTERMODE_UP;
  htim8.Init.Period            = 65535;
  htim8.Init.ClockDivision     = TIM_CLOCKDIVISION_DIV1;
  htim8.Init.RepetitionCounter = 0;
  htim8.Init.AutoReloadPreload = TIM_AUTORELOAD_PRELOAD_DISABLE;
  sConfig.EncoderMode  = TIM_ENCODERMODE_TI1;
  sConfig.IC1Polarity  = TIM_ICPOLARITY_RISING;
  sConfig.IC1Selection = TIM_ICSELECTION_DIRECTTI;
  sConfig.IC1Prescaler = TIM_ICPSC_DIV1;
  sConfig.IC1Filter    = 0;
  sConfig.IC2Polarity  = TIM_ICPOLARITY_RISING;
  sConfig.IC2Selection = TIM_ICSELECTION_DIRECTTI;
  sConfig.IC2Prescaler = TIM_ICPSC_DIV1;
  sConfig.IC2Filter    = 0;
  if (HAL_TIM_Encoder_Init(&htim8, &sConfig) != HAL_OK) Error_Handler();

  sMasterConfig.MasterOutputTrigger  = TIM_TRGO_RESET;
  sMasterConfig.MasterOutputTrigger2 = TIM_TRGO2_RESET;
  sMasterConfig.MasterSlaveMode      = TIM_MASTERSLAVEMODE_DISABLE;
  if (HAL_TIMEx_MasterConfigSynchronization(&htim8, &sMasterConfig) != HAL_OK) Error_Handler();
}

static void MX_TIM15_Init(void)
{
  TIM_ClockConfigTypeDef sClockSourceConfig = {0};
  TIM_MasterConfigTypeDef sMasterConfig = {0};

  htim15.Instance = TIM15;
  htim15.Init.Prescaler         = 67;
  htim15.Init.CounterMode       = TIM_COUNTERMODE_UP;
  htim15.Init.Period            = 49999;
  htim15.Init.ClockDivision     = TIM_CLOCKDIVISION_DIV1;
  htim15.Init.RepetitionCounter = 0;
  htim15.Init.AutoReloadPreload = TIM_AUTORELOAD_PRELOAD_DISABLE;
  if (HAL_TIM_Base_Init(&htim15) != HAL_OK) Error_Handler();

  sClockSourceConfig.ClockSource = TIM_CLOCKSOURCE_INTERNAL;
  if (HAL_TIM_ConfigClockSource(&htim15, &sClockSourceConfig) != HAL_OK) Error_Handler();

  sMasterConfig.MasterOutputTrigger = TIM_TRGO_RESET;
  sMasterConfig.MasterSlaveMode     = TIM_MASTERSLAVEMODE_DISABLE;
  if (HAL_TIMEx_MasterConfigSynchronization(&htim15, &sMasterConfig) != HAL_OK) Error_Handler();
}

static void MX_TIM20_Init(void)
{
  TIM_MasterConfigTypeDef sMasterConfig = {0};
  TIM_OC_InitTypeDef sConfigOC = {0};
  TIM_BreakDeadTimeConfigTypeDef sBreakDeadTimeConfig = {0};

  htim20.Instance = TIM20;
  htim20.Init.Prescaler         = 0;
  htim20.Init.CounterMode       = TIM_COUNTERMODE_UP;
  htim20.Init.Period            = 65535;
  htim20.Init.ClockDivision     = TIM_CLOCKDIVISION_DIV1;
  htim20.Init.RepetitionCounter = 0;
  htim20.Init.AutoReloadPreload = TIM_AUTORELOAD_PRELOAD_DISABLE;
  if (HAL_TIM_PWM_Init(&htim20) != HAL_OK) Error_Handler();

  sMasterConfig.MasterOutputTrigger  = TIM_TRGO_RESET;
  sMasterConfig.MasterOutputTrigger2 = TIM_TRGO2_RESET;
  sMasterConfig.MasterSlaveMode      = TIM_MASTERSLAVEMODE_DISABLE;
  if (HAL_TIMEx_MasterConfigSynchronization(&htim20, &sMasterConfig) != HAL_OK) Error_Handler();

  sConfigOC.OCMode       = TIM_OCMODE_PWM1;
  sConfigOC.Pulse        = 0;
  sConfigOC.OCPolarity   = TIM_OCPOLARITY_HIGH;
  sConfigOC.OCNPolarity  = TIM_OCNPOLARITY_HIGH;
  sConfigOC.OCFastMode   = TIM_OCFAST_DISABLE;
  sConfigOC.OCIdleState  = TIM_OCIDLESTATE_RESET;
  sConfigOC.OCNIdleState = TIM_OCNIDLESTATE_RESET;
  if (HAL_TIM_PWM_ConfigChannel(&htim20, &sConfigOC, TIM_CHANNEL_3) != HAL_OK) Error_Handler();

  sBreakDeadTimeConfig.OffStateRunMode  = TIM_OSSR_DISABLE;
  sBreakDeadTimeConfig.OffStateIDLEMode = TIM_OSSI_DISABLE;
  sBreakDeadTimeConfig.LockLevel        = TIM_LOCKLEVEL_OFF;
  sBreakDeadTimeConfig.DeadTime         = 0;
  sBreakDeadTimeConfig.BreakState       = TIM_BREAK_DISABLE;
  sBreakDeadTimeConfig.BreakPolarity    = TIM_BREAKPOLARITY_HIGH;
  sBreakDeadTimeConfig.BreakFilter      = 0;
  sBreakDeadTimeConfig.BreakAFMode      = TIM_BREAK_AFMODE_INPUT;
  sBreakDeadTimeConfig.Break2State      = TIM_BREAK2_DISABLE;
  sBreakDeadTimeConfig.Break2Polarity   = TIM_BREAK2POLARITY_HIGH;
  sBreakDeadTimeConfig.Break2Filter     = 0;
  sBreakDeadTimeConfig.Break2AFMode     = TIM_BREAK_AFMODE_INPUT;
  sBreakDeadTimeConfig.AutomaticOutput  = TIM_AUTOMATICOUTPUT_DISABLE;
  if (HAL_TIMEx_ConfigBreakDeadTime(&htim20, &sBreakDeadTimeConfig) != HAL_OK) Error_Handler();

  HAL_TIM_MspPostInit(&htim20);
}

static void MX_GPIO_Init(void)
{
  GPIO_InitTypeDef GPIO_InitStruct = {0};

  __HAL_RCC_GPIOC_CLK_ENABLE();
  __HAL_RCC_GPIOF_CLK_ENABLE();
  __HAL_RCC_GPIOA_CLK_ENABLE();
  __HAL_RCC_GPIOB_CLK_ENABLE();

  /* PC2 = DIR1, PC3 = motor driver enable, PC4 */
  HAL_GPIO_WritePin(GPIOC, GPIO_PIN_2 | GPIO_PIN_3 | GPIO_PIN_4, GPIO_PIN_RESET);
  HAL_GPIO_WritePin(LD2_GPIO_Port, LD2_Pin, GPIO_PIN_RESET);
  /* PB4 = DIR2, PB11 = DIR3, PB13 = DIR4 */
  HAL_GPIO_WritePin(GPIOB, GPIO_PIN_11 | GPIO_PIN_13 | GPIO_PIN_14 | GPIO_PIN_4
                         | GPIO_PIN_5  | GPIO_PIN_6  | GPIO_PIN_7, GPIO_PIN_RESET);

  GPIO_InitStruct.Pin  = B1_Pin;
  GPIO_InitStruct.Mode = GPIO_MODE_IT_RISING;
  GPIO_InitStruct.Pull = GPIO_NOPULL;
  HAL_GPIO_Init(B1_GPIO_Port, &GPIO_InitStruct);

  GPIO_InitStruct.Pin   = GPIO_PIN_2 | GPIO_PIN_3 | GPIO_PIN_4;
  GPIO_InitStruct.Mode  = GPIO_MODE_OUTPUT_PP;
  GPIO_InitStruct.Pull  = GPIO_NOPULL;
  GPIO_InitStruct.Speed = GPIO_SPEED_FREQ_LOW;
  HAL_GPIO_Init(GPIOC, &GPIO_InitStruct);

  GPIO_InitStruct.Pin   = LD2_Pin;
  GPIO_InitStruct.Mode  = GPIO_MODE_OUTPUT_PP;
  GPIO_InitStruct.Pull  = GPIO_NOPULL;
  GPIO_InitStruct.Speed = GPIO_SPEED_FREQ_LOW;
  HAL_GPIO_Init(LD2_GPIO_Port, &GPIO_InitStruct);

  /* PA7 = IR sensor */
  GPIO_InitStruct.Pin  = GPIO_PIN_7;
  GPIO_InitStruct.Mode = GPIO_MODE_INPUT;
  GPIO_InitStruct.Pull = GPIO_NOPULL;
  HAL_GPIO_Init(GPIOA, &GPIO_InitStruct);

  GPIO_InitStruct.Pin   = GPIO_PIN_11 | GPIO_PIN_13 | GPIO_PIN_14 | GPIO_PIN_4
                        | GPIO_PIN_5  | GPIO_PIN_6  | GPIO_PIN_7;
  GPIO_InitStruct.Mode  = GPIO_MODE_OUTPUT_PP;
  GPIO_InitStruct.Pull  = GPIO_NOPULL;
  GPIO_InitStruct.Speed = GPIO_SPEED_FREQ_LOW;
  HAL_GPIO_Init(GPIOB, &GPIO_InitStruct);

  HAL_NVIC_SetPriority(EXTI15_10_IRQn, 0, 0);
  HAL_NVIC_EnableIRQ(EXTI15_10_IRQn);
}

void Error_Handler(void)
{
  __disable_irq();
  while (1)
  {
  }
}
